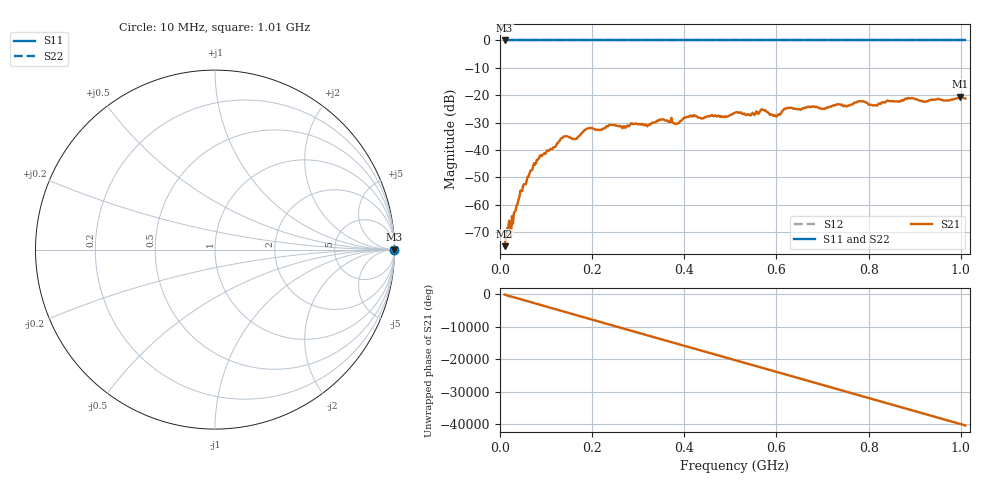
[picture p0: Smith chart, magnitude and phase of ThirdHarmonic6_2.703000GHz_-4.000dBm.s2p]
! 8/17/2025 6:28:58 AM
! C:\ANRITSUVNA\TEMP\TEMP.S2P
! CHANNEL.1
! TR.MEASUREMENT
! RAW.DATA
! RF.CORRECTION.OFF
! AVERAGING.OFF
! IF.BANDWIDTH: 5KHZ
! SWEEPTYPE:  FREQ.SWEEP(Linear)
! Reference Plane Port Info
! PORT:  PORT1  PORT2
! DISTANCE:  0  m  0  m
! TIME:  0  s  0  s
! PHASE.OFFSET:  0  deg.  0  deg.
! LOSS:  0  dB  0  dB
! REF.LOSS:  0  dB  0  dB
! REF.FREQ:  0  Hz  0  Hz
! Power Info
! POWER:  -20  dBm  -20  dBm
! EFF.POWER:  -20  dBm  -20  dBm
! SOURCE.ATTEN:  0  dB  0  dB
! TEST.ATTEN:  0  dB  0  dB
# GHZ S RI R 50.0
! FREQ.GHZ  S11RE  S11IM  S21RE  S21IM  S12RE  S12IM  S22RE  S22IM
!; PortSelection: Port_12
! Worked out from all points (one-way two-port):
!   501 points, 10 MHz to 1.01 GHz, reference 50 ohm
!   highest |S21| = -20.49 dB at 998 MHz (marker M1); lowest = -75.1 dB at 10 MHz (marker M2)
!   lowest |S11| = 0.0 dB at 10 MHz (marker M3)
!   |S11| at or under -10 dB: nowhere
!   |S22| runs from 0.0 to 0.0 dB; largest |S21 - S12| = 1.1
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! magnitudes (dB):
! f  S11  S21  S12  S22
! 10 MHz  0.0  -75.1  0.0  0.0
! 16 MHz  0.0  -68.5  0.0  0.0
! 26 MHz  0.0  -64.1  0.0  0.0
! 48 MHz  0.0  -55.0  0.0  0.0
! 84 MHz  0.0  -43.1  0.0  0.0
! 136 MHz  0.0  -35.6  0.0  0.0
! 162 MHz  0.0  -36.0  0.0  0.0
! 178 MHz  0.0  -33.7  0.0  0.0
! 192 MHz  0.0  -32.1  0.0  0.0
! 322 MHz  0.0  -31.0  0.0  0.0
! 344 MHz  0.0  -29.3  0.0  0.0
! 384 MHz  0.0  -30.3  0.0  0.0
! 410 MHz  0.0  -27.9  0.0  0.0
! 510 MHz  0.0  -26.4  0.0  0.0
! 540 MHz  0.0  -26.9  0.0  0.0
! 570 MHz  0.0  -25.2  0.0  0.0
! 598 MHz  0.0  -27.5  0.0  0.0
! 622 MHz  0.0  -24.7  0.0  0.0
! 678 MHz  0.0  -24.2  0.0  0.0
! 844 MHz  0.0  -22.1  0.0  0.0
! 998 MHz  0.0  -20.5  0.0  0.0
! 1.01 GHz  0.0  -21.2  0.0  0.0
